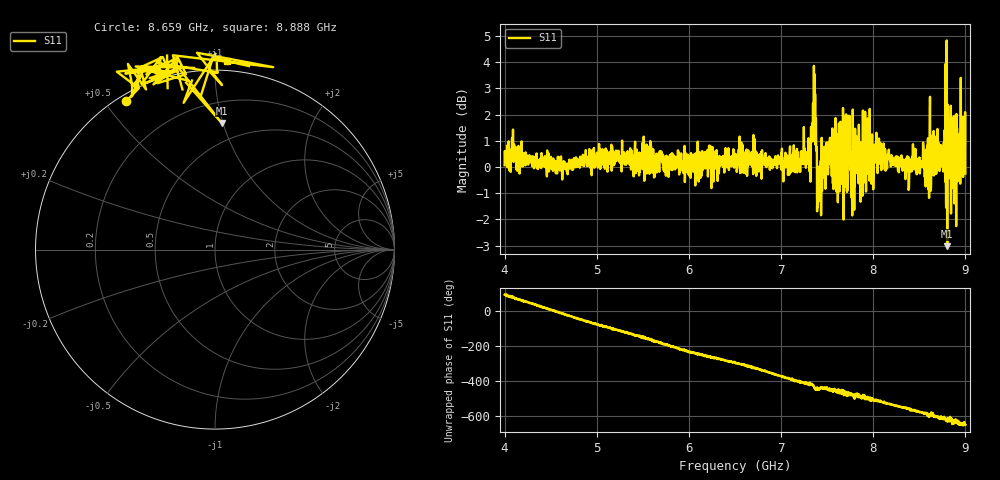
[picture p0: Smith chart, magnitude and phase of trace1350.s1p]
! Created with skrf 1.8.0 (http://scikit-rf.org).
# Hz S RI R 50.0
!freq ReS11 ImS11
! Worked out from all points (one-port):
!   1601 points, 4 GHz to 9 GHz, reference 50 ohm
!   lowest |S11| = -3.0 dB at 8.803 GHz (marker M1), VSWR 5.81, Z = 17.6 + j49.5 ohm
!   |S11| at or under -10 dB: nowhere
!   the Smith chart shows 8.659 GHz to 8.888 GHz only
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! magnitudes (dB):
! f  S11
! 4 GHz  0.1
! 4.1 GHz  0.5
! 4.153 GHz  0.2
! 4.625 GHz  -0.5
! 5.25 GHz  0.2
! 5.875 GHz  0.0
! 6.5 GHz  0.3
! 7.125 GHz  0.4
! 7.294 GHz  0.2
! 7.353 GHz  2.2
! 7.369 GHz  2.8
! 7.4 GHz  -1.4
! 7.412 GHz  0.0
! 7.512 GHz  0.1
! 7.591 GHz  1.9
! 7.669 GHz  1.3
! 7.703 GHz  0.0
! 7.716 GHz  -1.0
! 7.75 GHz  -0.1
! 7.775 GHz  0.7
! 7.822 GHz  0.1
! 7.928 GHz  0.8
! 8.375 GHz  0.0
! 8.434 GHz  0.2
! 8.803 GHz  -3.0
! 8.875 GHz  0.3
! 8.972 GHz  1.0
! 9 GHz  -0.3
